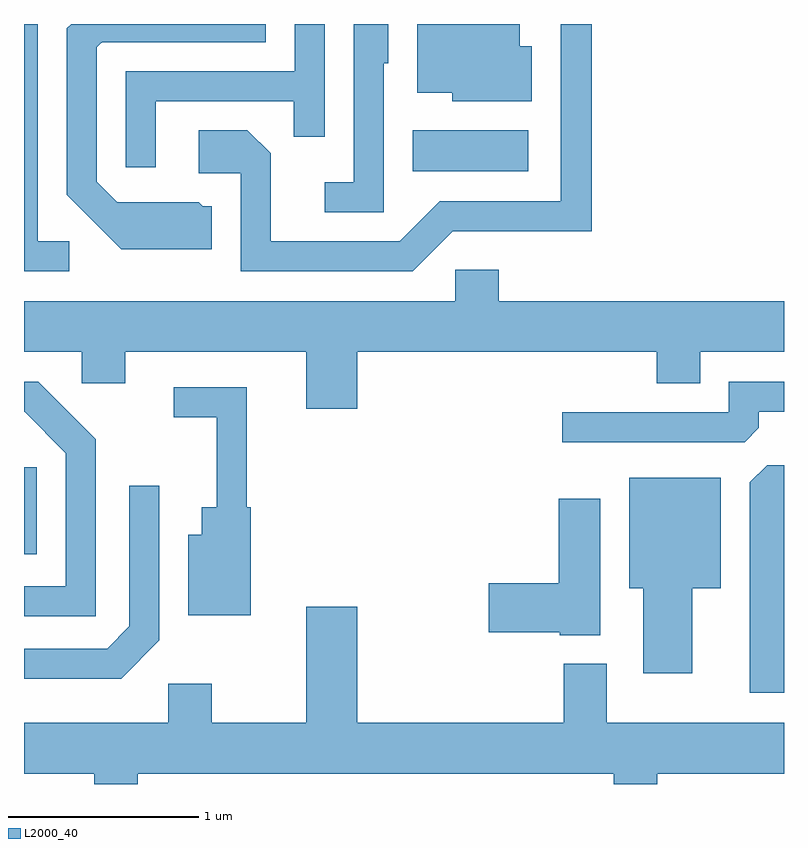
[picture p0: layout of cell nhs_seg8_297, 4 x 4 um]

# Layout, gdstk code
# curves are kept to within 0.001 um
import gdstk
lib = gdstk.Library(unit=1e-6, precision=1e-09)
def R(c, l, rs):  # rectangles x0, y0, x1, y1
    for r in rs: c.add(gdstk.rectangle(r[:2], r[2:], *l))
def P(c, l, *ps):  # polygons
    for p in ps: c.add(gdstk.Polygon(p, *l))
L2000_40 = (2000, 40)

nhs_seg8_297 = lib.new_cell('nhs_seg8_297')
R(nhs_seg8_297, L2000_40, [(193.611,1857.551,193.679,1858.009), (195.656,1859.566,196.264,1859.784)])
P(nhs_seg8_297, L2000_40, [(195.504,1860.136),(195.529,1860.136),(195.529,1860.342),(195.346,1860.342),(195.346,1859.509),(195.193,1859.509),(195.193,1859.351),(195.504,1859.351)],
  [(193.848,1859.199),(193.684,1859.199),(193.684,1860.342),(193.611,1860.342),(193.611,1859.041),(193.848,1859.041)],
  [(195.867,1859.251),(196.599,1859.251),(196.599,1860.342),(196.436,1860.342),(196.436,1859.409),(195.799,1859.409),(195.589,1859.199),(194.909,1859.199),(194.909,1859.662),(194.787,1859.784),(194.531,1859.784),(194.531,1859.556),(194.751,1859.556),(194.751,1859.041),(195.657,1859.041)],
  [(196.284,1860.224),(196.219,1860.224),(196.219,1860.342),(195.681,1860.342),(195.681,1859.981),(195.866,1859.981),(195.866,1859.936),(196.284,1859.936)],
  [(194.304,1859.936),(195.031,1859.936),(195.031,1859.748),(195.194,1859.748),(195.194,1860.342),(195.036,1860.342),(195.036,1860.094),(194.146,1860.094),(194.146,1859.588),(194.304,1859.588)],
  [(194.599,1859.384),(194.552,1859.384),(194.532,1859.404),(194.102,1859.404),(193.994,1859.512),(193.994,1860.219),(194.022,1860.246),(194.884,1860.246),(194.884,1860.342),(193.859,1860.342),(193.836,1860.319),(193.836,1859.444),(194.124,1859.156),(194.599,1859.156)],
  [(195.364,1858.616),(196.941,1858.616),(196.941,1858.451),(197.169,1858.451),(197.169,1858.616),(197.611,1858.616),(197.611,1858.884),(196.109,1858.884),(196.109,1859.049),(195.881,1859.049),(195.881,1858.884),(193.611,1858.884),(193.611,1858.616),(193.916,1858.616),(193.916,1858.451),(194.144,1858.451),(194.144,1858.616),(195.096,1858.616),(195.096,1858.316),(195.364,1858.316)],
  [(193.989,1858.157),(193.687,1858.459),(193.611,1858.459),(193.611,1858.301),(193.614,1858.301),(193.831,1858.084),(193.831,1857.384),(193.611,1857.384),(193.611,1857.226),(193.989,1857.226)],
  [(197.479,1858.217),(197.479,1858.301),(197.611,1858.301),(197.611,1858.459),(197.321,1858.459),(197.321,1858.299),(196.443,1858.299),(196.443,1858.141),(197.404,1858.141)],
  [(194.804,1857.799),(194.784,1857.799),(194.784,1858.429),(194.398,1858.429),(194.398,1858.271),(194.626,1858.271),(194.626,1857.799),(194.546,1857.799),(194.546,1857.654),(194.476,1857.654),(194.476,1857.231),(194.804,1857.231)],
  [(197.611,1858.019),(197.522,1858.019),(197.431,1857.929),(197.431,1856.821),(197.611,1856.821)],
  [(197.129,1857.371),(197.279,1857.371),(197.279,1857.954),(196.796,1857.954),(196.796,1857.371),(196.871,1857.371),(196.871,1856.926),(197.129,1856.926)],
  [(194.324,1857.099),(194.324,1857.913),(194.166,1857.913),(194.166,1857.172),(194.049,1857.054),(193.611,1857.054),(193.611,1856.896),(194.122,1856.896)],
  [(196.644,1857.844),(196.426,1857.844),(196.426,1857.399),(196.056,1857.399),(196.056,1857.141),(196.43,1857.141),(196.43,1857.126),(196.644,1857.126)],
  [(194.209,1856.396),(196.716,1856.396),(196.716,1856.342),(196.944,1856.342),(196.944,1856.396),(197.611,1856.396),(197.611,1856.664),(196.679,1856.664),(196.679,1856.974),(196.451,1856.974),(196.451,1856.664),(195.364,1856.664),(195.364,1857.274),(195.096,1857.274),(195.096,1856.664),(194.599,1856.664),(194.599,1856.869),(194.371,1856.869),(194.371,1856.664),(193.611,1856.664),(193.611,1856.396),(193.981,1856.396),(193.981,1856.342),(194.209,1856.342)])

lib.write_gds('nhs_seg8_297.gds')
